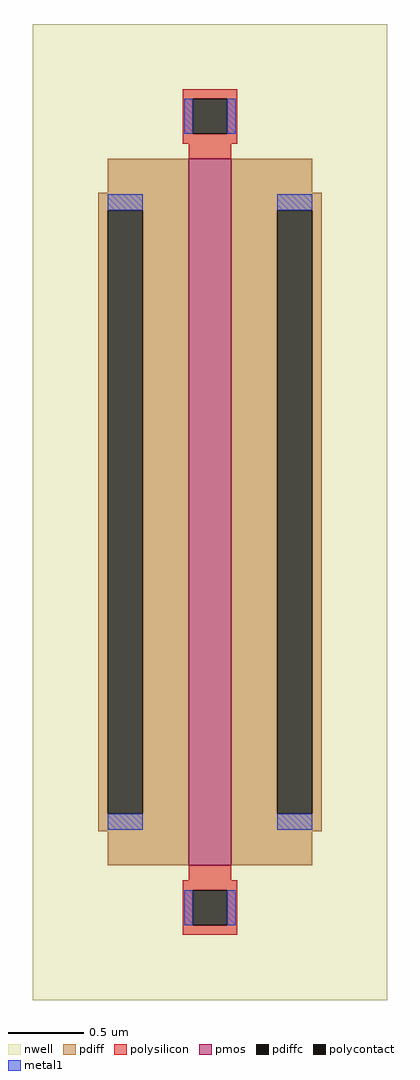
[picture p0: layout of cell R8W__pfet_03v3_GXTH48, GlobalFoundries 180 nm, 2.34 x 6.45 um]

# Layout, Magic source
magic
tech gf180mcuD
magscale 1 10
<< nwell >>
rect -234 -645 234 645
<< pmos >>
rect -28 -467 28 467
<< pdiff >>
rect -135 422 -28 467
rect -148 399 -28 422
rect -148 -399 -135 399
rect -89 -399 -28 399
rect -148 -422 -28 -399
rect -135 -467 -28 -422
rect 28 422 135 467
rect 28 399 148 422
rect 28 -399 89 399
rect 135 -399 148 399
rect 28 -422 148 -399
rect 28 -467 135 -422
<< pdiffc >>
rect -135 -399 -89 399
rect 89 -399 135 399
<< polysilicon >>
rect -36 546 36 559
rect -36 500 -23 546
rect 23 500 36 546
rect -36 487 36 500
rect -28 467 28 487
rect -28 -487 28 -467
rect -36 -500 36 -487
rect -36 -546 -23 -500
rect 23 -546 36 -500
rect -36 -559 36 -546
<< polycontact >>
rect -23 500 23 546
rect -23 -546 23 -500
<< metal1 >>
rect -34 500 -23 546
rect 23 500 34 546
rect -135 399 -89 420
rect -135 -420 -89 -399
rect 89 399 135 420
rect 89 -420 135 -399
rect -34 -546 -23 -500
rect 23 -546 34 -500
<< properties >>
string GDS_END 228092
string GDS_FILE ../native_sources/A44_A_Q2_BEFORE_ESD.gds
string GDS_START 225784
<< end >>
